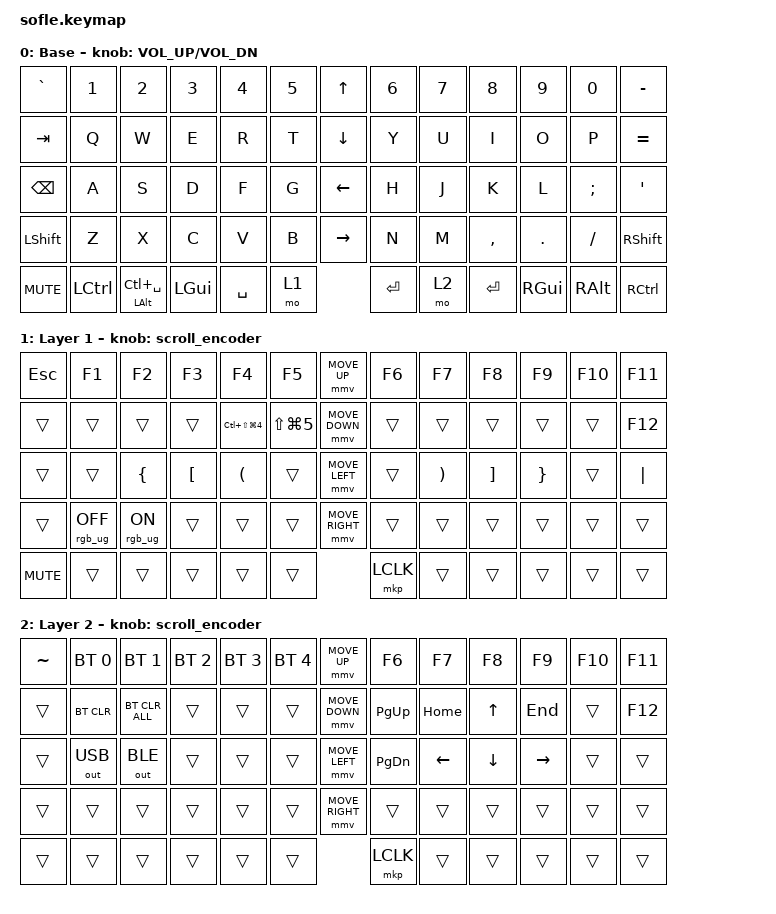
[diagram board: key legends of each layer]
#include <behaviors/mouse_keys.dtsi>
#include <behaviors.dtsi>
#include <dt-bindings/zmk/bt.h>
#include <dt-bindings/zmk/keys.h>
#include <dt-bindings/zmk/mouse.h>
#include <dt-bindings/zmk/outputs.h>
#include <dt-bindings/zmk/rgb.h>

#define ZMK_MOUSE_DEFAULT_MOVE_VAL 1200  // 600
#define ZMK_MOUSE_DEFAULT_SCRL_VAL 20    // 10
#define U_MS_U &mmv MOVE_UP
#define U_MS_D &mmv MOVE_DOWN
#define U_MS_L &mmv MOVE_LEFT
#define U_MS_R &mmv MOVE_RIGHT

#define LEFT_ALT_MT 

/ {
    behaviors {
        mmv {
            acceleration-exponent = <1>;      // 1
            time-to-max-speed-ms = <900>;    // 40
            delay-ms = <0>;                   // 0
        };

        msc {
            acceleration-exponent = <1>;      // 0
            time-to-max-speed-ms = <400>;      // 500
            delay-ms = <0>;                   //   10
        };
    };

    scroll_encoder: scroll_encoder {
        compatible = "zmk,behavior-sensor-rotate";
        #sensor-binding-cells = <0>;
        bindings = <&msc SCRL_DOWN>, <&msc SCRL_UP>;

        tap-ms = <30>;
    };

    keymap {
        compatible = "zmk,keymap";

        layer0 {
            bindings = <
&kp GRAVE     &kp N1     &kp N2        &kp N3        &kp N4      &kp N5       &kp UP_ARROW     &kp N6     &kp N7     &kp N8        &kp N9           &kp N0      &kp MINUS 
&kp TAB       &kp Q      &kp W         &kp E         &kp R       &kp T        &kp DOWN_ARROW   &kp Y      &kp U      &kp I         &kp O            &kp P       &kp EQUAL
&kp BACKSPACE &kp A      &kp S         &kp D         &kp F       &kp G        &kp LEFT_ARROW   &kp H      &kp J      &kp K         &kp L            &kp SEMI    &kp APOS
&kp LSHFT     &kp Z      &kp X         &kp C         &kp V       &kp B        &kp RIGHT_ARROW  &kp N      &kp M      &kp COMMA     &kp DOT          &kp FSLH    &kp RSHIFT
&kp C_MUTE    &kp LCTRL  &mt LEFT_ALT LC(SPACE)  &kp LEFT_GUI  &kp SPACE   &mo 1        &kp ENTER        &mo 2      &kp ENTER  &kp RIGHT_GUI &kp RIGHT_ALT    &kp RCTRL
            >;

            sensor-bindings = <&inc_dec_kp C_VOLUME_UP C_VOL_DN>;
            display-name = "Base";
        };

        layer_1 {
            bindings = <
&kp ESC     &kp F1           &kp F2          &kp F3      &kp F4      &kp F5    &mmv MOVE_UP     &kp F6     &kp F7      &kp F8    &kp F9    &kp F10   &kp F11
&trans      &trans           &trans          &trans      &kp LC(LS(LG(N4)))  &kp LS(LG(N5))    &mmv MOVE_DOWN   &trans     &trans      &trans    &trans    &trans    &kp F12
&trans      &trans           &kp LBRC        &kp LBKT    &kp LPAR    &trans    &mmv MOVE_LEFT   &trans     &kp RPAR    &kp RBKT  &kp RBRC  &trans    &kp PIPE
&trans      &rgb_ug RGB_OFF  &rgb_ug RGB_ON  &trans      &trans      &trans    &mmv MOVE_RIGHT  &trans     &trans      &trans    &trans    &trans    &trans
&kp C_MUTE  &trans           &trans          &trans      &trans      &trans    &mkp LCLK        &trans     &trans      &trans    &trans    &trans
            >;

            display-name = "Layer 1";
            sensor-bindings = <&scroll_encoder>;
        };

        layer_2 {
            bindings = <
&kp TILDE  &bt BT_SEL 0  &bt BT_SEL 1    &bt BT_SEL 2  &bt BT_SEL 3  &bt BT_SEL 4    &mmv MOVE_UP     &kp F6       &kp F7      &kp F8      &kp F9      &kp F10    &kp F11
&trans     &bt BT_CLR    &bt BT_CLR_ALL  &trans        &trans        &trans          &mmv MOVE_DOWN   &kp PG_UP    &kp HOME    &kp UP      &kp END     &trans     &kp F12
&trans     &out OUT_USB  &out OUT_BLE    &trans        &trans        &trans          &mmv MOVE_LEFT   &kp PG_DN  &kp LEFT    &kp DOWN    &kp RIGHT   &trans     &trans
&trans     &trans        &trans          &trans        &trans        &trans          &mmv MOVE_RIGHT  &trans       &trans      &trans      &trans      &trans     &trans
&trans     &trans        &trans          &trans        &trans        &trans          &mkp LCLK        &trans       &trans      &trans      &trans      &trans
            >;

            display-name = "Layer 2";
            sensor-bindings = <&scroll_encoder>;
        };
    };
};
